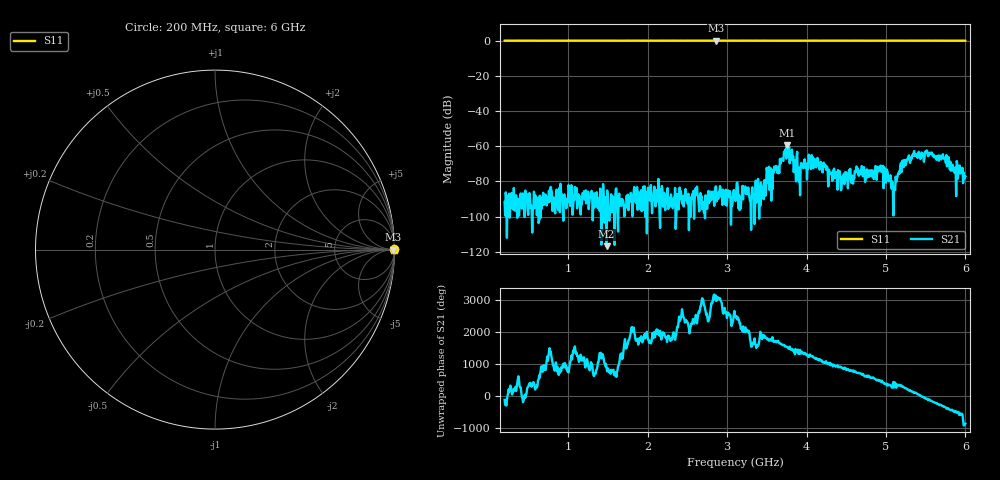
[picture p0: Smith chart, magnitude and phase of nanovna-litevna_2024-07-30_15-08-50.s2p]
! NanoVNA-App by OneOfEleven et al v1.1.209 (+OD15)
! Date: 2024-07-30 15:08:54
! Start: 200MHz Stop: 6GHz Points: 801
! S-Parameter data: F S11 S21 S12 S22
# Hz S RI R 50
!  Frequency  S11_Real  S11_Imag  S21_Real  S21_Imag  S12_Real  S12_Imag  S22_Real  S22_Imag
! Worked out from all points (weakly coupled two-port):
!   801 points, 200 MHz to 6 GHz, reference 50 ohm
!   highest |S21| = -59.52 dB at 3.752 GHz (marker M1); lowest = -116.7 dB at 1.483 GHz (marker M2)
!   lowest |S11| = -0.1 dB at 2.861 GHz (marker M3), VSWR 298.99, Z = 1.47e+04 - j1.92e+03 ohm
!   |S11| at or under -10 dB: nowhere
!   S12 and S22 are empty: the file has one direction only
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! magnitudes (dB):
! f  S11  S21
! 200 MHz  0.0  -91.6
! 1.171 GHz  0.0  -93.1
! 1.483 GHz  0.0  -116.7
! 2.136 GHz  0.0  -78.5
! 2.861 GHz  -0.1  -82.7
! 3.1 GHz  0.0  -86.5
! 3.462 GHz  0.0  -90.0
! 3.629 GHz  0.0  -75.0
! 3.752 GHz  0.0  -59.5
! 3.803 GHz  0.0  -63.1
! 3.89 GHz  0.0  -78.2
! 4.072 GHz  0.0  -66.5
! 4.456 GHz  0.0  -80.7
! 4.92 GHz  0.0  -73.5
! 5.036 GHz  0.0  -79.9
! 5.101 GHz  0.0  -84.6
! 5.261 GHz  0.0  -67.6
! 5.521 GHz  0.0  -63.2
! 5.732 GHz  0.0  -66.6
! 5.855 GHz  0.0  -73.8
! 5.92 GHz  0.0  -73.0
! 6 GHz  0.0  -77.1
